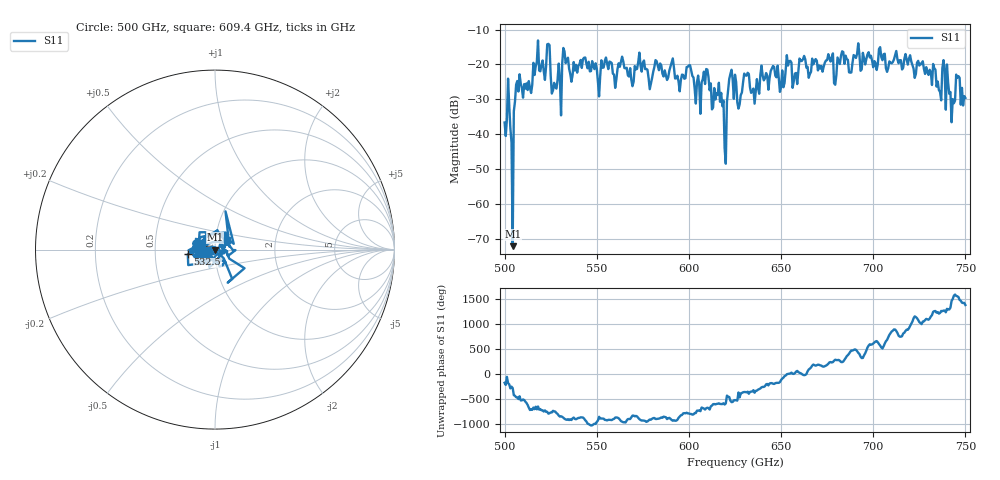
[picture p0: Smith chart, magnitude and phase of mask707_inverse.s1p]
!Created with skrf (http://scikit-rf.org).
# GHz S MA R 50.0
!freq magS11 angS11
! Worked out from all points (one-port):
!   401 points, 500 GHz to 750 GHz, reference 50 ohm
!   lowest |S11| = -72.0 dB at 504.4 GHz (marker M1), VSWR 1.00, Z = 50 + j0.0248 ohm
!   |S11| at or under -10 dB: start of sweep to end of sweep
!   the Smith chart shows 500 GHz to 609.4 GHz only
!   S11 on the Smith chart (normalised r, x): 500 GHz: 0.97, -0.00; 532.5 GHz: 0.74, -0.04; 609.4 GHz: 1.13, +0.13
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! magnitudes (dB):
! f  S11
! 500 GHz  -36.6
! 502.5 GHz  -31.6
! 503.1 GHz  -38.3
! 504.4 GHz  -72.0
! 506.2 GHz  -25.8
! 507.5 GHz  -27.7
! 513.8 GHz  -26.7
! 516.9 GHz  -20.5
! 523.8 GHz  -14.1
! 526.9 GHz  -25.3
! 531.2 GHz  -19.7
! 532.5 GHz  -16.3
! 550.6 GHz  -24.9
! 562.5 GHz  -20.7
! 593.8 GHz  -23.2
! 600 GHz  -20.3
! 605 GHz  -23.2
! 609.4 GHz  -21.3
! 617.5 GHz  -28.1
! 619.4 GHz  -44.0
! 622.5 GHz  -22.7
! 625 GHz  -22.9
! 627.5 GHz  -31.5
! 631.2 GHz  -23.2
! 656.2 GHz  -26.7
! 687.5 GHz  -22.3
! 718.8 GHz  -20.0
! 750 GHz  -29.6
